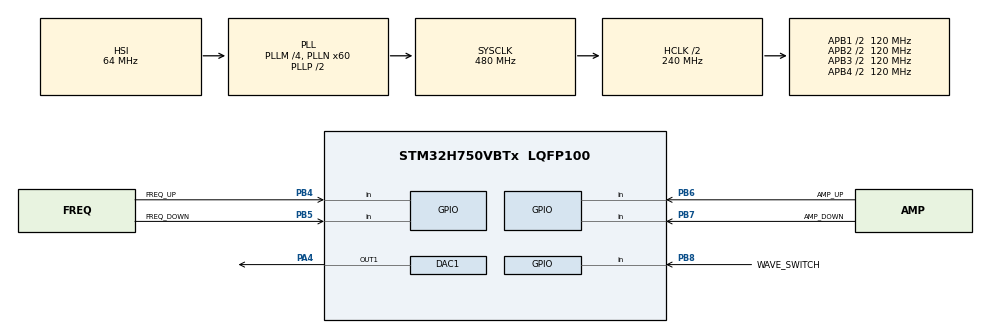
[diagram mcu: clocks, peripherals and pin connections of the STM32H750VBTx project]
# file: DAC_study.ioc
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CORTEX_M7.default_mode_Activation=1
DAC1.DAC_Channel-DAC_OUT1_ExtAndInt=DAC_CHANNEL_1
DAC1.DAC_Trigger-DAC_OUT1_ExtAndInt=DAC_TRIGGER_T2_TRGO
Dma.DAC1_CH1.0.Direction=DMA_MEMORY_TO_PERIPH
Dma.DAC1_CH1.0.EventEnable=DISABLE
Dma.DAC1_CH1.0.FIFOMode=DMA_FIFOMODE_DISABLE
Dma.DAC1_CH1.0.Instance=DMA1_Stream0
Dma.DAC1_CH1.0.MemDataAlignment=DMA_MDATAALIGN_HALFWORD
Dma.DAC1_CH1.0.MemInc=DMA_MINC_ENABLE
Dma.DAC1_CH1.0.Mode=DMA_CIRCULAR
Dma.DAC1_CH1.0.PeriphDataAlignment=DMA_PDATAALIGN_HALFWORD
Dma.DAC1_CH1.0.PeriphInc=DMA_PINC_DISABLE
Dma.DAC1_CH1.0.Polarity=HAL_DMAMUX_REQ_GEN_RISING
Dma.DAC1_CH1.0.Priority=DMA_PRIORITY_LOW
Dma.DAC1_CH1.0.RequestNumber=1
Dma.DAC1_CH1.0.SignalID=NONE
Dma.DAC1_CH1.0.SyncEnable=DISABLE
Dma.DAC1_CH1.0.SyncPolarity=HAL_DMAMUX_SYNC_NO_EVENT
Dma.DAC1_CH1.0.SyncRequestNumber=1
Dma.DAC1_CH1.0.SyncSignalID=NONE
Dma.Request0=DAC1_CH1
Mcu.Family=STM32H7
Mcu.Name=STM32H750VBTx
Mcu.Package=LQFP100
NVIC.DMA1_Stream0_IRQn=true\:0\:0\:false\:false\:true\:false\:true\:true
NVIC.PriorityGroup=NVIC_PRIORITYGROUP_4
PA4.Signal=COMP_DAC11_group
PB4\ (NJTRST).GPIO_Label=FREQ_UP
PB4\ (NJTRST).GPIO_PuPd=GPIO_PULLUP
PB4\ (NJTRST).Signal=GPIO_Input
PB5.GPIO_Label=FREQ_DOWN
PB5.GPIO_PuPd=GPIO_PULLUP
PB5.Signal=GPIO_Input
PB6.GPIO_Label=AMP_UP
PB6.GPIO_PuPd=GPIO_PULLUP
PB6.Signal=GPIO_Input
PB7.GPIO_Label=AMP_DOWN
PB7.GPIO_PuPd=GPIO_PULLUP
PB7.Signal=GPIO_Input
PB8.GPIO_Label=WAVE_SWITCH
PB8.GPIO_PuPd=GPIO_PULLUP
PB8.Signal=GPIO_Input
ProjectManager.HeapSize=0x200
ProjectManager.StackSize=0x400
ProjectManager.TargetToolchain=STM32CubeIDE
RCC.ADCFreq_Value=129000000
RCC.APB1Freq_Value=120000000
RCC.APB2Freq_Value=120000000
RCC.APB3Freq_Value=120000000
RCC.APB4Freq_Value=120000000
RCC.CortexFreq_Value=480000000
RCC.D1PPRE=RCC_APB3_DIV2
RCC.D2PPRE1=RCC_APB1_DIV2
RCC.D2PPRE2=RCC_APB2_DIV2
RCC.D3PPRE=RCC_APB4_DIV2
RCC.DIVM1=4
RCC.DIVN1=60
RCC.HCLKFreq_Value=240000000
RCC.HPRE=RCC_HCLK_DIV2
RCC.PLL2FRACN=0
RCC.PLL3FRACN=0
RCC.PLLFRACN=0
RCC.SYSCLKFreq_VALUE=480000000
RCC.SYSCLKSource=RCC_SYSCLKSOURCE_PLLCLK
RCC.USBFreq_Value=480000000
SH.COMP_DAC11_group.0=DAC1_OUT1,DAC_OUT1_ExtAndInt
TIM2.AutoReloadPreload=TIM_AUTORELOAD_PRELOAD_ENABLE
TIM2.Period=18774
TIM2.Prescaler=0
TIM2.TIM_MasterOutputTrigger=TIM_TRGO_UPDATE
VP_MEMORYMAP_VS_MEMORYMAP.Mode=CurAppReg
VP_TIM2_VS_ClockSourceINT.Mode=Internal
board=custom

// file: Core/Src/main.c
/* USER CODE BEGIN Header */
/**
  ******************************************************************************
  * @file           : main.c
  * @brief          : Main program body
  ******************************************************************************
  */
/* USER CODE END Header */
#include "main.h"

/* USER CODE BEGIN Includes */
#include "math.h"
#include <string.h>
/* USER CODE END Includes */

/* USER CODE BEGIN PD */
#define PI              3.1415926f
#define WAVE_SIZE       128
#define VREF            3.3f
#define SAFETY          1.0f

#define DAC_MID         2048.0f
#define DAC_AMP         (2047.0f * SAFETY)
#define TIMER_CLK       240000000UL

#define FREQ_MIN        1000
#define FREQ_MAX        20000
#define FREQ_STEP       500

#define AMP_MIN         0.0f
#define AMP_MAX         3.3f
#define AMP_STEP        0.1f

#define KEY_NONE        0
#define KEY_FREQ_UP     1
#define KEY_FREQ_DOWN   2
#define KEY_AMP_UP      3
#define KEY_AMP_DOWN    4
#define KEY_WAVE_SWITCH 5
/* USER CODE END PD */

DAC_HandleTypeDef hdac1;
DMA_HandleTypeDef hdma_dac1_ch1;

TIM_HandleTypeDef htim2;

/* USER CODE BEGIN PV */

__attribute__((section(".DTCMRAM"))) uint16_t wave_sine[WAVE_SIZE];
__attribute__((section(".DTCMRAM"))) uint16_t wave_square[WAVE_SIZE];
__attribute__((section(".DTCMRAM"))) uint16_t wave_triangle[WAVE_SIZE];

static uint32_t current_freq = 1000;
static float    current_amp  = 1.0f;
static uint8_t  current_wave = 0;
static uint16_t *active_table = wave_sine;
/* USER CODE END PV */

void SystemClock_Config(void);
static void MPU_Config(void);
static void MX_GPIO_Init(void);
static void MX_DMA_Init(void);
static void MX_TIM2_Init(void);
static void MX_DAC1_Init(void);

/* USER CODE BEGIN 0 */
#define DEBOUNCE_MS 20

static uint8_t  last_freq_up=1,   pend_freq_up=0;   static uint32_t tick_freq_up=0;
static uint8_t  last_freq_down=1, pend_freq_down=0; static uint32_t tick_freq_down=0;
static uint8_t  last_amp_up=1,    pend_amp_up=0;    static uint32_t tick_amp_up=0;
static uint8_t  last_amp_down=1,  pend_amp_down=0;  static uint32_t tick_amp_down=0;
static uint8_t  last_wave=1,      pend_wave=0;      static uint32_t tick_wave=0;

// 状态机宏：一个按键的完整逻辑
#define SCAN_KEY(last, pend, tick, port, pin, code)
    do {
        uint8_t now = HAL_GPIO_ReadPin(port, pin);
        /* 下降沿：记录时间戳，进入等待 */
        if (last == 1 && now == 0) {
            tick = HAL_GetTick();
            pend = 1;
        }
        /* 等待期间仍为低，且超过消抖时间 → 确认按下 */
        if (pend && now == 0) {
            if (HAL_GetTick() - tick >= DEBOUNCE_MS) {
                ret = code;
                pend = 0;
            }
        }
        /* 中途松开 → 取消等待 */
        if (now == 1) pend = 0;
        last = now;
    } while (0)

uint8_t Key_Scan(void)
{
    uint8_t ret = KEY_NONE;

    SCAN_KEY(last_freq_up,   pend_freq_up,   tick_freq_up,
             FREQ_UP_GPIO_Port,     FREQ_UP_Pin,     KEY_FREQ_UP);

    SCAN_KEY(last_freq_down, pend_freq_down, tick_freq_down,
             FREQ_DOWN_GPIO_Port,   FREQ_DOWN_Pin,   KEY_FREQ_DOWN);

    SCAN_KEY(last_amp_up,    pend_amp_up,    tick_amp_up,
             AMP_UP_GPIO_Port,      AMP_UP_Pin,      KEY_AMP_UP);

    SCAN_KEY(last_amp_down,  pend_amp_down,  tick_amp_down,
             AMP_DOWN_GPIO_Port,    AMP_DOWN_Pin,    KEY_AMP_DOWN);

    SCAN_KEY(last_wave,      pend_wave,      tick_wave,
             WAVE_SWITCH_GPIO_Port, WAVE_SWITCH_Pin, KEY_WAVE_SWITCH);

    return ret;
}
/* ========== 波形表填充 ========== */
static void fill_sine(uint16_t *table, float amp_scale)
{
    float angle = 0.0f;
    const float step = 2.0f * PI / WAVE_SIZE;
    for (uint16_t i = 0; i < WAVE_SIZE; i++) {
        float val = DAC_MID + DAC_AMP * amp_scale * sinf(angle);
        if (val < 0.0f)   val = 0.0f;
        if (val > 4095.0f) val = 4095.0f;
        table[i] = (uint16_t)val;
        angle += step;
    }
}

static void fill_square(uint16_t *table, float amp_scale)
{
    float hi = DAC_MID + DAC_AMP * amp_scale;
    float lo = DAC_MID - DAC_AMP * amp_scale;
    if (hi > 4095.0f) hi = 4095.0f;
    if (lo < 0.0f)    lo = 0.0f;
    uint16_t high = (uint16_t)hi;
    uint16_t low  = (uint16_t)lo;
    for (uint16_t i = 0; i < WAVE_SIZE; i++) {
        table[i] = (i < WAVE_SIZE / 2) ? high : low;
    }
}

static void fill_triangle(uint16_t *table, float amp_scale)
{
    for (uint16_t i = 0; i < WAVE_SIZE; i++) {
        float phase;
        if (i < WAVE_SIZE / 2) {
            phase = 4.0f * i / WAVE_SIZE - 1.0f;
        } else {
            phase = 3.0f - 4.0f * i / WAVE_SIZE;
        }
        float val = DAC_MID + DAC_AMP * amp_scale * phase;
        if (val < 0.0f)   val = 0.0f;
        if (val > 4095.0f) val = 4095.0f;
        table[i] = (uint16_t)val;
    }
}

static void rebuild_tables(void)
{
    float scale = current_amp / VREF;
    fill_sine(wave_sine, scale);
    fill_square(wave_square, scale);
    fill_triangle(wave_triangle, scale);
}

/* ========== 频率设置 ========== */
static void set_frequency(uint32_t freq_hz)
{
    uint32_t trigger_freq = freq_hz * WAVE_SIZE;
    uint32_t arr = TIMER_CLK / trigger_freq - 1;
    __HAL_TIM_SET_AUTORELOAD(&htim2, arr);
    current_freq = freq_hz;
}

/* ========== 重启 DAC DMA ========== */
static void restart_dac_dma(void)
{
    HAL_DAC_Stop_DMA(&hdac1, DAC_CHANNEL_1);
    HAL_Delay(2);                              // 等DMA彻底停稳
    SCB_CleanDCache_by_Addr((uint32_t*)active_table, WAVE_SIZE * 2);
    HAL_DAC_Start_DMA(&hdac1, DAC_CHANNEL_1,
                      (uint32_t*)active_table, WAVE_SIZE,
                      DAC_ALIGN_12B_R);
}

/* ========== 按键处理 ========== */
static void handle_key(uint8_t key)
{
    switch (key) {
        case KEY_FREQ_UP:
            if (current_freq + FREQ_STEP <= FREQ_MAX)
                set_frequency(current_freq + FREQ_STEP);
            break;

        case KEY_FREQ_DOWN:
            if (current_freq >= FREQ_MIN + FREQ_STEP)
                set_frequency(current_freq - FREQ_STEP);
            break;

        case KEY_AMP_UP:
            if (current_amp + AMP_STEP <= AMP_MAX) {
                current_amp += AMP_STEP;
                rebuild_tables();
                restart_dac_dma();
            }
            break;

        case KEY_AMP_DOWN:
            if (current_amp >= AMP_MIN + AMP_STEP) {
                current_amp -= AMP_STEP;
                rebuild_tables();
                restart_dac_dma();
            }
            break;

        case KEY_WAVE_SWITCH:
            current_wave = (current_wave + 1) % 3;
            if (current_wave == 0)      active_table = wave_sine;
            else if (current_wave == 1) active_table = wave_square;
            else                        active_table = wave_triangle;
            restart_dac_dma();
            break;

        default:
            break;
    }
}
/* USER CODE END 0 */

int main(void)
{

  /* MPU Configuration--------------------------------------------------------*/
  MPU_Config();

  /* MCU Configuration--------------------------------------------------------*/

  /* Reset of all peripherals, Initializes the Flash interface and the Systick. */
  HAL_Init();

  /* Configure the system clock */
  SystemClock_Config();

  /* Initialize all configured peripherals */
  MX_GPIO_Init();
  MX_DMA_Init();
  MX_TIM2_Init();
  MX_DAC1_Init();
  /* USER CODE BEGIN 2 */
  rebuild_tables();

  HAL_DAC_Start(&hdac1, DAC_CHANNEL_1);
  set_frequency(1000);

  SCB_CleanDCache_by_Addr((uint32_t*)wave_sine, WAVE_SIZE * 2);
  HAL_DAC_Start_DMA(&hdac1, DAC_CHANNEL_1,
                    (uint32_t*)wave_sine, WAVE_SIZE,
                    DAC_ALIGN_12B_R);

  HAL_TIM_Base_Start(&htim2);
  /* USER CODE END 2 */

  /* Infinite loop */
  while (1)
  {

    /* USER CODE BEGIN 3 */
	   uint8_t key = Key_Scan();
	   if (key != KEY_NONE) handle_key(key);
	   HAL_Delay(1);

  }
  /* USER CODE END 3 */
}

void SystemClock_Config(void)
{
  RCC_OscInitTypeDef RCC_OscInitStruct = {0};
  RCC_ClkInitTypeDef RCC_ClkInitStruct = {0};

  /** Supply configuration update enable
  */
  HAL_PWREx_ConfigSupply(PWR_LDO_SUPPLY);

  /** Configure the main internal regulator output voltage
  */
  __HAL_PWR_VOLTAGESCALING_CONFIG(PWR_REGULATOR_VOLTAGE_SCALE0);

  while(!__HAL_PWR_GET_FLAG(PWR_FLAG_VOSRDY)) {}

  /** Initializes the RCC Oscillators according to the specified parameters
  * in the RCC_OscInitTypeDef structure.
  */
  RCC_OscInitStruct.OscillatorType = RCC_OSCILLATORTYPE_HSI;
  RCC_OscInitStruct.HSIState = RCC_HSI_DIV1;
  RCC_OscInitStruct.HSICalibrationValue = RCC_HSICALIBRATION_DEFAULT;
  RCC_OscInitStruct.PLL.PLLState = RCC_PLL_ON;
  RCC_OscInitStruct.PLL.PLLSource = RCC_PLLSOURCE_HSI;
  RCC_OscInitStruct.PLL.PLLM = 4;
  RCC_OscInitStruct.PLL.PLLN = 60;
  RCC_OscInitStruct.PLL.PLLP = 2;
  RCC_OscInitStruct.PLL.PLLQ = 2;
  RCC_OscInitStruct.PLL.PLLR = 2;
  RCC_OscInitStruct.PLL.PLLRGE = RCC_PLL1VCIRANGE_3;
  RCC_OscInitStruct.PLL.PLLVCOSEL = RCC_PLL1VCOWIDE;
  RCC_OscInitStruct.PLL.PLLFRACN = 0;
  if (HAL_RCC_OscConfig(&RCC_OscInitStruct) != HAL_OK)
  {
    Error_Handler();
  }

  /** Initializes the CPU, AHB and APB buses clocks
  */
  RCC_ClkInitStruct.ClockType = RCC_CLOCKTYPE_HCLK|RCC_CLOCKTYPE_SYSCLK
                              |RCC_CLOCKTYPE_PCLK1|RCC_CLOCKTYPE_PCLK2
                              |RCC_CLOCKTYPE_D3PCLK1|RCC_CLOCKTYPE_D1PCLK1;
  RCC_ClkInitStruct.SYSCLKSource = RCC_SYSCLKSOURCE_PLLCLK;
  RCC_ClkInitStruct.SYSCLKDivider = RCC_SYSCLK_DIV1;
  RCC_ClkInitStruct.AHBCLKDivider = RCC_HCLK_DIV2;
  RCC_ClkInitStruct.APB3CLKDivider = RCC_APB3_DIV2;
  RCC_ClkInitStruct.APB1CLKDivider = RCC_APB1_DIV2;
  RCC_ClkInitStruct.APB2CLKDivider = RCC_APB2_DIV2;
  RCC_ClkInitStruct.APB4CLKDivider = RCC_APB4_DIV2;

  if (HAL_RCC_ClockConfig(&RCC_ClkInitStruct, FLASH_LATENCY_4) != HAL_OK)
  {
    Error_Handler();
  }
}

static void MX_DAC1_Init(void)
{

  DAC_ChannelConfTypeDef sConfig = {0};

  /** DAC Initialization
  */
  hdac1.Instance = DAC1;
  if (HAL_DAC_Init(&hdac1) != HAL_OK)
  {
    Error_Handler();
  }

  /** DAC channel OUT1 config
  */
  sConfig.DAC_SampleAndHold = DAC_SAMPLEANDHOLD_DISABLE;
  sConfig.DAC_Trigger = DAC_TRIGGER_T2_TRGO;
  sConfig.DAC_OutputBuffer = DAC_OUTPUTBUFFER_ENABLE;
  sConfig.DAC_ConnectOnChipPeripheral = DAC_CHIPCONNECT_ENABLE;
  sConfig.DAC_UserTrimming = DAC_TRIMMING_FACTORY;
  if (HAL_DAC_ConfigChannel(&hdac1, &sConfig, DAC_CHANNEL_1) != HAL_OK)
  {
    Error_Handler();
  }

}

static void MX_TIM2_Init(void)
{

  TIM_ClockConfigTypeDef sClockSourceConfig = {0};
  TIM_MasterConfigTypeDef sMasterConfig = {0};

  htim2.Instance = TIM2;
  htim2.Init.Prescaler = 0;
  htim2.Init.CounterMode = TIM_COUNTERMODE_UP;
  htim2.Init.Period = 18774;
  htim2.Init.ClockDivision = TIM_CLOCKDIVISION_DIV1;
  htim2.Init.AutoReloadPreload = TIM_AUTORELOAD_PRELOAD_ENABLE;
  if (HAL_TIM_Base_Init(&htim2) != HAL_OK)
  {
    Error_Handler();
  }
  sClockSourceConfig.ClockSource = TIM_CLOCKSOURCE_INTERNAL;
  if (HAL_TIM_ConfigClockSource(&htim2, &sClockSourceConfig) != HAL_OK)
  {
    Error_Handler();
  }
  sMasterConfig.MasterOutputTrigger = TIM_TRGO_UPDATE;
  sMasterConfig.MasterSlaveMode = TIM_MASTERSLAVEMODE_DISABLE;
  if (HAL_TIMEx_MasterConfigSynchronization(&htim2, &sMasterConfig) != HAL_OK)
  {
    Error_Handler();
  }

}

static void MX_DMA_Init(void)
{

  /* DMA controller clock enable */
  __HAL_RCC_DMA1_CLK_ENABLE();

  /* DMA interrupt init */
  /* DMA1_Stream0_IRQn interrupt configuration */
  HAL_NVIC_SetPriority(DMA1_Stream0_IRQn, 0, 0);
  HAL_NVIC_EnableIRQ(DMA1_Stream0_IRQn);

}

static void MX_GPIO_Init(void)
{
  GPIO_InitTypeDef GPIO_InitStruct = {0};

  /* GPIO Ports Clock Enable */
  __HAL_RCC_GPIOA_CLK_ENABLE();
  __HAL_RCC_GPIOB_CLK_ENABLE();

  /*Configure GPIO pins : FREQ_UP_Pin FREQ_DOWN_Pin AMP_UP_Pin AMP_DOWN_Pin
                           WAVE_SWITCH_Pin */
  GPIO_InitStruct.Pin = FREQ_UP_Pin|FREQ_DOWN_Pin|AMP_UP_Pin|AMP_DOWN_Pin
                          |WAVE_SWITCH_Pin;
  GPIO_InitStruct.Mode = GPIO_MODE_INPUT;
  GPIO_InitStruct.Pull = GPIO_PULLUP;
  HAL_GPIO_Init(GPIOB, &GPIO_InitStruct);

}

 /* MPU Configuration */

void MPU_Config(void)
{
  MPU_Region_InitTypeDef MPU_InitStruct = {0};

  /* Disables the MPU */
  HAL_MPU_Disable();

  /** Initializes and configures the Region and the memory to be protected
  */
  MPU_InitStruct.Enable = MPU_REGION_ENABLE;
  MPU_InitStruct.Number = MPU_REGION_NUMBER0;
  MPU_InitStruct.BaseAddress = 0x0;
  MPU_InitStruct.Size = MPU_REGION_SIZE_4GB;
  MPU_InitStruct.SubRegionDisable = 0x87;
  MPU_InitStruct.TypeExtField = MPU_TEX_LEVEL0;
  MPU_InitStruct.AccessPermission = MPU_REGION_NO_ACCESS;
  MPU_InitStruct.DisableExec = MPU_INSTRUCTION_ACCESS_DISABLE;
  MPU_InitStruct.IsShareable = MPU_ACCESS_SHAREABLE;
  MPU_InitStruct.IsCacheable = MPU_ACCESS_NOT_CACHEABLE;
  MPU_InitStruct.IsBufferable = MPU_ACCESS_NOT_BUFFERABLE;

  HAL_MPU_ConfigRegion(&MPU_InitStruct);
  /* Enables the MPU */
  HAL_MPU_Enable(MPU_PRIVILEGED_DEFAULT);

}

void Error_Handler(void)
{
  __disable_irq();
  while (1)
  {
  }
}
